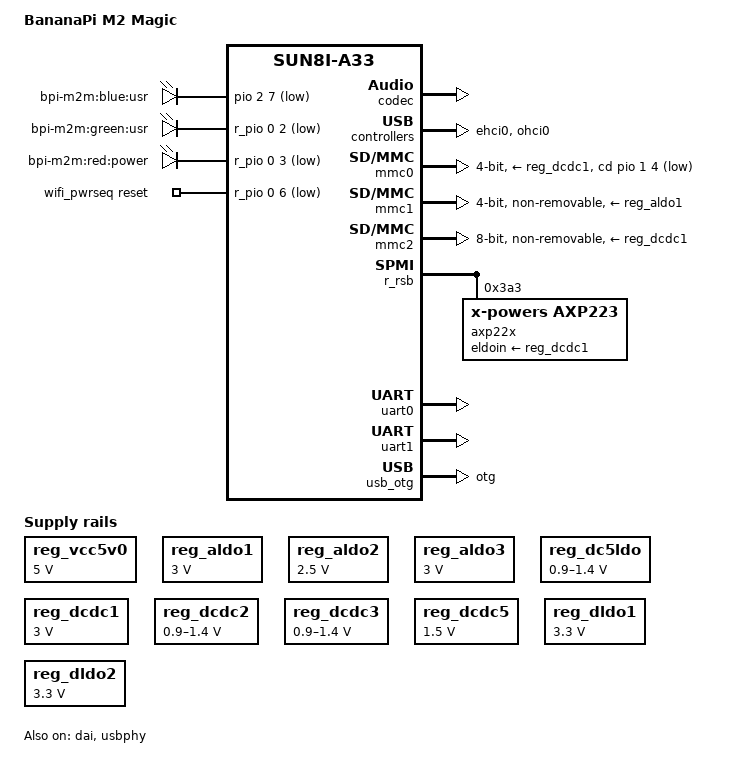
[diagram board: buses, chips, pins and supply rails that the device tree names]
/*
 * Copyright (c) 2017 Free Electrons <maxime.ripard@free-electrons.com>
 *
 * This file is dual-licensed: you can use it either under the terms
 * of the GPL or the X11 license, at your option. Note that this dual
 * licensing only applies to this file, and not this project as a
 * whole.
 *
 *  a) This file is free software; you can redistribute it and/or
 *     modify it under the terms of the GNU General Public License as
 *     published by the Free Software Foundation; either version 2 of the
 *     License, or (at your option) any later version.
 *
 *     This file is distributed in the hope that it will be useful,
 *     but WITHOUT ANY WARRANTY; without even the implied warranty of
 *     MERCHANTABILITY or FITNESS FOR A PARTICULAR PURPOSE.  See the
 *     GNU General Public License for more details.
 *
 * Or, alternatively,
 *
 *  b) Permission is hereby granted, free of charge, to any person
 *     obtaining a copy of this software and associated documentation
 *     files (the "Software"), to deal in the Software without
 *     restriction, including without limitation the rights to use,
 *     copy, modify, merge, publish, distribute, sublicense, and/or
 *     sell copies of the Software, and to permit persons to whom the
 *     Software is furnished to do so, subject to the following
 *     conditions:
 *
 *     The above copyright notice and this permission notice shall be
 *     included in all copies or substantial portions of the Software.
 *
 *     THE SOFTWARE IS PROVIDED "AS IS", WITHOUT WARRANTY OF ANY KIND,
 *     EXPRESS OR IMPLIED, INCLUDING BUT NOT LIMITED TO THE WARRANTIES
 *     OF MERCHANTABILITY, FITNESS FOR A PARTICULAR PURPOSE AND
 *     NONINFRINGEMENT. IN NO EVENT SHALL THE AUTHORS OR COPYRIGHT
 *     HOLDERS BE LIABLE FOR ANY CLAIM, DAMAGES OR OTHER LIABILITY,
 *     WHETHER IN AN ACTION OF CONTRACT, TORT OR OTHERWISE, ARISING
 *     FROM, OUT OF OR IN CONNECTION WITH THE SOFTWARE OR THE USE OR
 *     OTHER DEALINGS IN THE SOFTWARE.
 */

/dts-v1/;
#include "sun8i-a33.dtsi"

#include <dt-bindings/gpio/gpio.h>

/ {
	model = "BananaPi M2 Magic";
	compatible = "sinovoip,bananapi-m2m", "allwinner,sun8i-a33";

	aliases {
		i2c0 = &i2c0;
		i2c1 = &i2c1;
		i2c2 = &i2c2;
		serial0 = &uart0;
		serial1 = &uart1;
	};

	chosen {
		stdout-path = "serial0:115200n8";
	};

	leds {
		compatible = "gpio-leds";

		blue {
			label = "bpi-m2m:blue:usr";
			gpios = <&pio 2 7 GPIO_ACTIVE_LOW>;
		};

		green {
			label = "bpi-m2m:green:usr";
			gpios = <&r_pio 0 2 GPIO_ACTIVE_LOW>;
		};

		red {
			label = "bpi-m2m:red:power";
			gpios = <&r_pio 0 3 GPIO_ACTIVE_LOW>;
			default-state = "on";
		};
	};

	reg_vcc5v0: vcc5v0 {
		compatible = "regulator-fixed";
		regulator-name = "vcc5v0";
		regulator-min-microvolt = <5000000>;
		regulator-max-microvolt = <5000000>;
	};

	wifi_pwrseq: wifi_pwrseq {
		compatible = "mmc-pwrseq-simple";
		reset-gpios = <&r_pio 0 6 GPIO_ACTIVE_LOW>; /* PL06 */
	};
};

&codec {
	status = "okay";
};

&cpu0 {
	cpu-supply = <&reg_dcdc3>;
};

&cpu0_opp_table {
	opp@1104000000 {
		opp-hz = /bits/ 64 <1104000000>;
		opp-microvolt = <1320000>;
		clock-latency-ns = <244144>; /* 8 32k periods */
	};

	opp@1200000000 {
		opp-hz = /bits/ 64 <1200000000>;
		opp-microvolt = <1320000>;
		clock-latency-ns = <244144>; /* 8 32k periods */
	};
};

&dai {
	status = "okay";
};

&ehci0 {
	status = "okay";
};

/* This is the i2c bus exposed on the DSI connector for the touch panel */
&i2c0 {
	pinctrl-names = "default";
	pinctrl-0 = <&i2c0_pins_a>;
	status = "disabled";
};

/* This is the i2c bus exposed on the GPIO header */
&i2c1 {
	pinctrl-names = "default";
	pinctrl-0 = <&i2c1_pins_a>;
	status = "disabled";
};

/* This is the i2c bus exposed on the CSI connector to control the sensor */
&i2c2 {
	pinctrl-names = "default";
	pinctrl-0 = <&i2c2_pins_a>;
	status = "disabled";
};

&mmc0 {
	pinctrl-names = "default";
	pinctrl-0 = <&mmc0_pins_a>;
	vmmc-supply = <&reg_dcdc1>;
	bus-width = <4>;
	cd-gpios = <&pio 1 4 GPIO_ACTIVE_HIGH>; /* PB4 */
	cd-inverted;
	status = "okay";
};

&mmc1 {
	pinctrl-names = "default";
	pinctrl-0 = <&mmc1_pins_a>;
	vmmc-supply = <&reg_aldo1>;
	mmc-pwrseq = <&wifi_pwrseq>;
	bus-width = <4>;
	non-removable;
	status = "okay";
};

&mmc2 {
	pinctrl-names = "default";
	pinctrl-0 = <&mmc2_8bit_pins>;
	vmmc-supply = <&reg_dcdc1>;
	bus-width = <8>;
	non-removable;
	cap-mmc-hw-reset;
	status = "okay";
};

&ohci0 {
	status = "okay";
};

&r_rsb {
	status = "okay";

	axp22x: pmic@3a3 {
		compatible = "x-powers,axp223";
		reg = <0x3a3>;
		interrupt-parent = <&nmi_intc>;
		interrupts = <0 IRQ_TYPE_LEVEL_LOW>;
		eldoin-supply = <&reg_dcdc1>;
		x-powers,drive-vbus-en;
	};
};

#include "axp223.dtsi"

&ac_power_supply {
	status = "okay";
};

&reg_aldo1 {
	regulator-always-on;
	regulator-min-microvolt = <3000000>;
	regulator-max-microvolt = <3000000>;
	regulator-name = "vcc-io";
};

&reg_aldo2 {
	regulator-always-on;
	regulator-min-microvolt = <2500000>;
	regulator-max-microvolt = <2500000>;
	regulator-name = "vdd-dll";
};

&reg_aldo3 {
	regulator-always-on;
	regulator-min-microvolt = <3000000>;
	regulator-max-microvolt = <3000000>;
	regulator-name = "avcc";
};

&reg_dc1sw {
	regulator-name = "vcc-lcd";
};

&reg_dc5ldo {
	regulator-always-on;
	regulator-min-microvolt = <900000>;
	regulator-max-microvolt = <1400000>;
	regulator-name = "vdd-cpus";
};

&reg_dcdc1 {
	regulator-always-on;
	regulator-min-microvolt = <3000000>;
	regulator-max-microvolt = <3000000>;
	regulator-name = "vcc-3v0";
};

&reg_dcdc2 {
	regulator-always-on;
	regulator-min-microvolt = <900000>;
	regulator-max-microvolt = <1400000>;
	regulator-name = "vdd-sys";
};

&reg_dcdc3 {
	regulator-always-on;
	regulator-min-microvolt = <900000>;
	regulator-max-microvolt = <1400000>;
	regulator-name = "vdd-cpu";
};

&reg_dcdc5 {
	regulator-always-on;
	regulator-min-microvolt = <1500000>;
	regulator-max-microvolt = <1500000>;
	regulator-name = "vcc-dram";
};

/*
 * Our WiFi chip needs both DLDO1 and DLDO2 to be powered at the same
 * time, with the two being in sync. Since this is not really
 * supported right now, just use the two as always on, and we will fix
 * it later.
 */
&reg_dldo1 {
	regulator-always-on;
	regulator-min-microvolt = <3300000>;
	regulator-max-microvolt = <3300000>;
	regulator-name = "vcc-wifi0";
};

&reg_dldo2 {
	regulator-always-on;
	regulator-min-microvolt = <3300000>;
	regulator-max-microvolt = <3300000>;
	regulator-name = "vcc-wifi1";
};

&reg_drivevbus {
	regulator-name = "usb0-vbus";
	status = "okay";
};

&reg_rtc_ldo {
	regulator-name = "vcc-rtc";
};

&sound {
	status = "okay";
};

&uart0 {
	pinctrl-names = "default";
	pinctrl-0 = <&uart0_pins_b>;
	status = "okay";
};

&uart1 {
	pinctrl-names = "default";
	pinctrl-0 = <&uart1_pins_a>, <&uart1_pins_cts_rts_a>;
	status = "okay";
};

&usb_otg {
	dr_mode = "otg";
	status = "okay";
};

&usb_power_supply {
	status = "okay";
};

&usbphy {
	usb0_id_det-gpios = <&pio 7 8 GPIO_ACTIVE_HIGH>; /* PH8 */
	usb0_vbus_power-supply = <&usb_power_supply>;
	usb0_vbus-supply = <&reg_drivevbus>;
	usb1_vbus-supply = <&reg_vcc5v0>;
	status = "okay";
};
